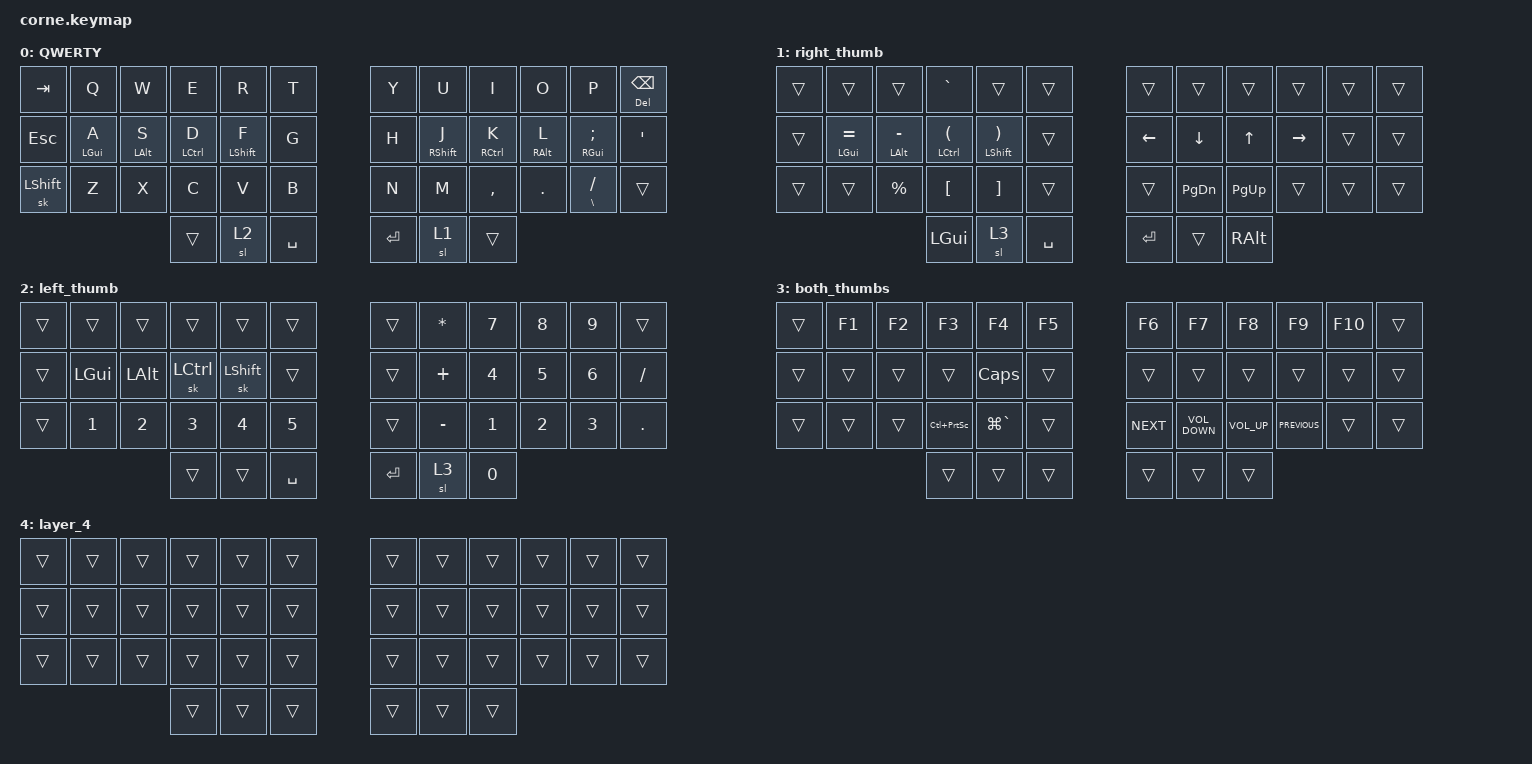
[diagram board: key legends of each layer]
/*
 * Copyright (c) 2020 The ZMK Contributors
 *
 * SPDX-License-Identifier: MIT
 */

#include <behaviors.dtsi>
#include <dt-bindings/zmk/keys.h>

&mt {
    flavor = "tap-preferred";
    require-prior-idle-ms = <125>;
    quick-tap-ms = <175>;
};

&sk { release-after-ms = <500>; };

&sl { release-after-ms = <500>; };

/ {
    combos { compatible = "zmk,combos"; };

    keymap {
        compatible = "zmk,keymap";

        QWERTY {
            // -----------------------------------------------------------------------------------------
            // |  TAB |  Q  |  W  |  E  |  R  |  T  |   |  Y  |  U   |  I  |  O  |  P  | BKSP |
            // | CTRL |  A  |  S  |  D  |  F  |  G  |   |  H  |  J   |  K  |  L  |  ;  |  '   |
            // | SHFT |  Z  |  X  |  C  |  V  |  B  |   |  N  |  M   |  ,  |  .  |  /  | ESC  |
            //                    | GUI | LWR | SPC |   | ENT | RSE  | ALT |

            bindings = <
&kp TAB     &kp Q           &kp W           &kp E        &kp R             &kp T      &kp Y    &kp U              &kp I        &kp O            &kp P                &mt DELETE BACKSPACE
&kp ESCAPE  &mt LEFT_GUI A  &mt LEFT_ALT S  &mt LCTRL D  &mt LEFT_SHIFT F  &kp G      &kp H    &mt RIGHT_SHIFT J  &mt RCTRL K  &mt RIGHT_ALT L  &mt RIGHT_GUI SEMI   &kp SQT
&sk LSHIFT  &kp Z           &kp X           &kp C        &kp V             &kp B      &kp N    &kp M              &kp COMMA    &kp DOT          &mt BACKSLASH SLASH  &trans
                                            &trans       &sl 2             &kp SPACE  &kp RET  &sl 1              &trans
            >;
        };

        right_thumb {
            // -----------------------------------------------------------------------------------------
            // |  TAB |  1  |  2  |  3  |  4  |  5  |   |  6  |  7  |  8  |  9  |  0  | BKSP |
            // | BTCLR| BT1 | BT2 | BT3 | BT4 | BT5 |   | LFT | DWN |  UP | RGT |     |      |
            // | SHFT |     |     |     |     |     |   |     |     |     |     |     |      |
            //                    | GUI |BOTH | SPC |   | ENT |     | ALT |

            bindings = <
&trans  &trans          &trans              &kp GRAVE                   &trans                            &trans     &trans    &trans         &trans     &trans     &trans  &trans
&trans  &mt LGUI EQUAL  &mt LEFT_ALT MINUS  &mt LCTRL LEFT_PARENTHESIS  &mt LEFT_SHIFT RIGHT_PARENTHESIS  &trans     &kp LEFT  &kp DOWN       &kp UP     &kp RIGHT  &trans  &trans
&trans  &trans          &kp PERCENT         &kp LEFT_BRACKET            &kp RIGHT_BRACKET                 &trans     &trans    &kp PAGE_DOWN  &kp PG_UP  &trans     &trans  &trans
                                            &kp LGUI                    &sl 3                             &kp SPACE  &kp RET   &trans         &kp RALT
            >;
        };

        left_thumb {
            // -----------------------------------------------------------------------------------------
            // |  TAB |  !  |  @  |  #  |  $  |  %  |   |  ^  |  &  |  *  |  (  |  )  | BKSP |
            // | CTRL |     |     |     |     |     |   |  -  |  =  |  [  |  ]  |  \  |  `   |
            // | SHFT |     |     |     |     |     |   |  _  |  +  |  {  |  }  | "|" |  ~   |
            //                    | GUI |     | SPC |   | ENT |BOTH | ALT |

            bindings = <
&trans  &trans        &trans        &trans        &trans          &trans     &trans   &kp ASTERISK  &kp N7        &kp N8  &kp N9  &trans
&trans  &kp LEFT_GUI  &kp LALT      &sk LCTRL     &sk LEFT_SHIFT  &trans     &trans   &kp PLUS      &kp N4        &kp N5  &kp N6  &kp FSLH
&trans  &kp N1        &kp NUMBER_2  &kp NUMBER_3  &kp NUMBER_4    &kp N5     &trans   &kp MINUS     &kp NUMBER_1  &kp N2  &kp N3  &kp PERIOD
                                    &trans        &trans          &kp SPACE  &kp RET  &sl 3         &kp N0
            >;
        };

        both_thumbs {
            bindings = <
&trans  &kp F1  &kp F2  &kp F3               &kp F4         &kp F5  &kp F6      &kp F7             &kp F8           &kp F9          &kp F10  &trans
&trans  &trans  &trans  &trans               &kp CAPSLOCK   &trans  &trans      &trans             &trans           &trans          &trans   &trans
&trans  &trans  &trans  &kp LC(PRINTSCREEN)  &kp LG(GRAVE)  &trans  &kp C_NEXT  &kp C_VOLUME_DOWN  &kp C_VOLUME_UP  &kp C_PREVIOUS  &trans   &trans
                        &trans               &trans         &trans  &trans      &trans             &trans
            >;
        };

        layer_4 {
            bindings = <
&trans  &trans  &trans  &trans  &trans  &trans  &trans  &trans  &trans  &trans  &trans  &trans
&trans  &trans  &trans  &trans  &trans  &trans  &trans  &trans  &trans  &trans  &trans  &trans
&trans  &trans  &trans  &trans  &trans  &trans  &trans  &trans  &trans  &trans  &trans  &trans
                        &trans  &trans  &trans  &trans  &trans  &trans
            >;
        };
    };
};
